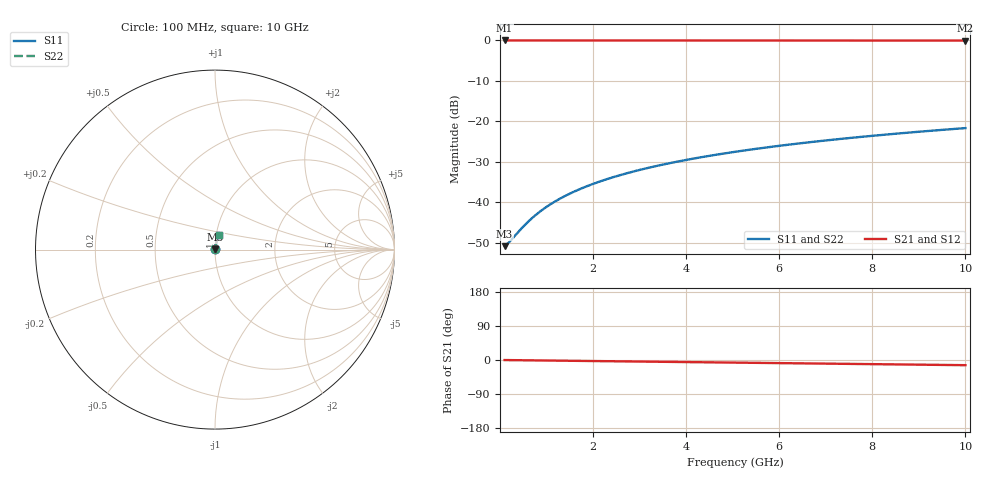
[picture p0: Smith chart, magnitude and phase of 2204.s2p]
# Hz S RI R 50.00
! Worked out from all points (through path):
!   100 points, 100 MHz to 10 GHz, reference 50 ohm
!   highest |S21| = -0.02 dB at 100 MHz (marker M1); lowest = -0.1 dB at 10 GHz (marker M2)
!   group delay of S21, straight-line fit = 3.8 ps
!   lowest |S11| = -50.8 dB at 100 MHz (marker M3), VSWR 1.01, Z = 50.3 + j0.0832 ohm
!   |S11| at or under -10 dB: start of sweep to end of sweep
!   |S22| runs from -50.8 to -21.7 dB; largest |S21 - S12| = 0
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1e8  0.00276 0.000827  0.9972 -0.00238  0.9972 -0.00238  0.00276 0.000827
2e8  0.00279 0.00165  0.9972 -0.00475  0.9972 -0.00475  0.00279 0.00165
5e8  0.00286 0.00414  0.9971 -0.0119  0.9971 -0.0119  0.00286 0.00414
6e8  0.00289 0.00496  0.9971 -0.0143  0.9971 -0.0143  0.00289 0.00496
7e8  0.00292 0.00579  0.997 -0.0166  0.997 -0.0166  0.00292 0.00579
9e8  0.003 0.00744  0.9969 -0.0214  0.9969 -0.0214  0.003 0.00744
1.1e9  0.00309 0.00909  0.9968 -0.0261  0.9968 -0.0261  0.00309 0.00909
1.3e9  0.00319 0.0107  0.9966 -0.0309  0.9966 -0.0309  0.00319 0.0107
1.5e9  0.00331 0.0124  0.9964 -0.0356  0.9964 -0.0356  0.00331 0.0124
1.8e9  0.00351 0.0149  0.9961 -0.0427  0.9961 -0.0427  0.00351 0.0149
2.1e9  0.00375 0.0173  0.9957 -0.0499  0.9957 -0.0499  0.00375 0.0173
2.5e9  0.00413 0.0206  0.9951 -0.0594  0.9951 -0.0594  0.00413 0.0206
2.9e9  0.00457 0.0239  0.9944 -0.0688  0.9944 -0.0688  0.00457 0.0239
3.4e9  0.0052 0.028  0.9934 -0.0807  0.9934 -0.0807  0.0052 0.028
3.8e9  0.00577 0.0312  0.9924 -0.0901  0.9924 -0.0901  0.00577 0.0312
4.2e9  0.00641 0.0345  0.9914 -0.0996  0.9914 -0.0996  0.00641 0.0345
5.1e9  0.00807 0.0417  0.9887 -0.1208  0.9887 -0.1208  0.00807 0.0417
5.9e9  0.0098 0.0481  0.9859 -0.1396  0.9859 -0.1396  0.0098 0.0481
6.7e9  0.0118 0.0544  0.9827 -0.1583  0.9827 -0.1583  0.0118 0.0544
7.5e9  0.014 0.0607  0.9791 -0.177  0.9791 -0.177  0.014 0.0607
8.4e9  0.0168 0.0676  0.9746 -0.1979  0.9746 -0.1979  0.0168 0.0676
1e10  0.0224 0.0795  0.9653 -0.2347  0.9653 -0.2347  0.0224 0.0795
